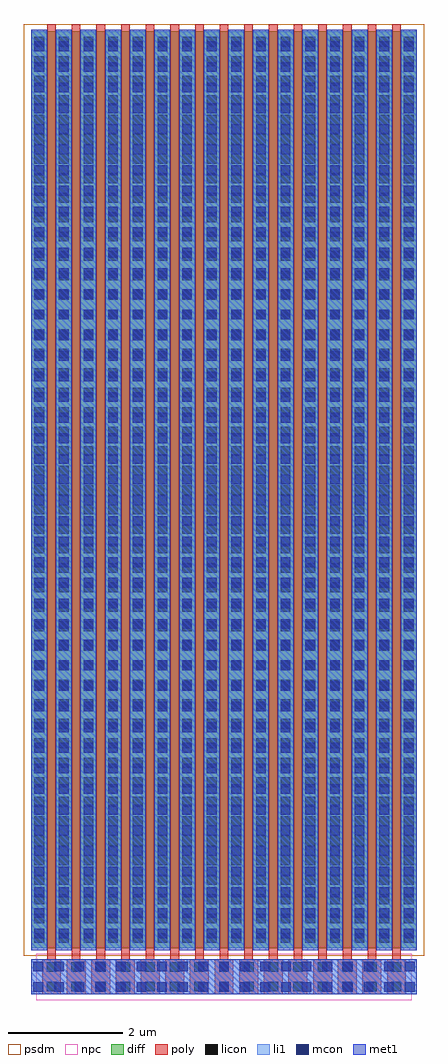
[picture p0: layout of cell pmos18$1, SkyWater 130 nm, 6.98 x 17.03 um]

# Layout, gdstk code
import gdstk
lib = gdstk.Library(unit=1e-6, precision=1e-09)
def R(c, l, rs):  # rectangles x0, y0, x1, y1
    for r in rs: c.add(gdstk.rectangle(r[:2], r[2:], *l))
def A(c, l, x, y, w, h, nx, ny, dx, dy):  # array of equal rectangles
    R(c, l, [(x+i*dx, y+j*dy, x+i*dx+w, y+j*dy+h) for i in range(nx) for j in range(ny)])
diff = (65, 20)
poly = (66, 20)
licon = (66, 44)
li1 = (67, 20)
mcon = (67, 44)
met1 = (68, 20)
psdm = (94, 20)
npc = (95, 20)

down_gate_connection_4 = lib.new_cell('down_gate_connection$4')
R(down_gate_connection_4, poly, [(0.19,-0.8,0.52,-0.19), (0.28,-0.19,0.43,-0.13)])
R(down_gate_connection_4, licon, [(0.27,-0.75,0.44,-0.58), (0.27,-0.41,0.44,-0.24)])
R(down_gate_connection_4, npc, [(0.09,-0.9,0.62,-0.09)])

up_gate_connection_4 = lib.new_cell('up_gate_connection$4')

licon_between_fingers_4 = lib.new_cell('licon_between_fingers$4')
R(licon_between_fingers_4, licon, [(0.055,0.095,0.225,0.265)])

li_between_fingers_4 = lib.new_cell('li_between_fingers$4')
li_between_fingers_4.add(gdstk.FlexPath([(0.14,0),(0.14,16)], 0.28, ends="flush", simple_path=True, layer=67, datatype=20))  # li1
li_between_fingers_4.add(gdstk.FlexPath([(0.14,-0.03),(0.14,16.03)], 0.28, ends="flush", simple_path=True, layer=68, datatype=20))  # met1

mcon_between_fingers_4 = lib.new_cell('mcon_between_fingers$4')
R(mcon_between_fingers_4, mcon, [(0.055,0.175,0.225,0.345), (0.055,0.175,0.225,0.345)])

nmos_4 = lib.new_cell('nmos$4')
R(nmos_4, diff, [(0,0,6.73,16)])
R(nmos_4, psdm, [(-0.125,-0.125,6.855,16.125)])
r = gdstk.Reference(down_gate_connection_4, (0,0)); r.repetition = gdstk.Repetition(15, 8, v1=(0.43,0), v2=(0,0)); nmos_4.add(r)
r = gdstk.Reference(up_gate_connection_4, (0.43,0)); r.repetition = gdstk.Repetition(7, 1, v1=(0,0), v2=(0,0)); nmos_4.add(r)
r = gdstk.Reference(licon_between_fingers_4, (0,0)); r.repetition = gdstk.Repetition(16, 47, v1=(0.43,0), v2=(0,0.34)); nmos_4.add(r)
r = gdstk.Reference(li_between_fingers_4, (0,0)); r.repetition = gdstk.Repetition(16, 1, v1=(0.43,0), v2=(0,0)); nmos_4.add(r)
r = gdstk.Reference(mcon_between_fingers_4, (0,0)); r.repetition = gdstk.Repetition(16, 44, v1=(0.43,0), v2=(0,0.36)); nmos_4.add(r)

pmos18_1 = lib.new_cell('pmos18$1')
A(pmos18_1, poly, 0.28, -0.13, 0.15, 16.26, 15, 1, 0.43, 0)
R(pmos18_1, li1, [(0,-0.8,6.73,-0.19)])
A(pmos18_1, mcon, 0.04, -0.76, 0.17, 0.17, 19, 2, 0.36, 0.36)
R(pmos18_1, met1, [(0,-0.8,6.73,-0.19)])
r = gdstk.Reference(nmos_4, (0,0)); r.repetition = gdstk.Repetition(1, 1, v1=(0,0), v2=(0,0)); pmos18_1.add(r)

lib.write_gds('pmos18_1.gds')
